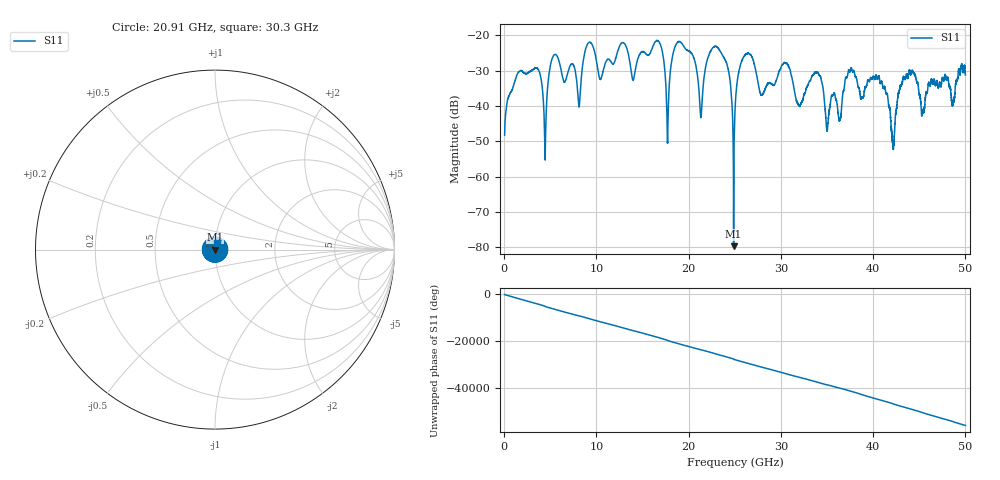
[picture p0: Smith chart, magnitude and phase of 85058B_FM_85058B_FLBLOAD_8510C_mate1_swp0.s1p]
!Created with skrf (http://scikit-rf.org).
# Hz S RI R 50.0
!freq ReS11 ImS11
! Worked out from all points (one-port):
!   10001 points, 45 MHz to 50 GHz, reference 50 ohm
!   lowest |S11| = -79.6 dB at 24.87 GHz (marker M1), VSWR 1.00, Z = 50 - j0.00189 ohm
!   |S11| at or under -10 dB: start of sweep to end of sweep
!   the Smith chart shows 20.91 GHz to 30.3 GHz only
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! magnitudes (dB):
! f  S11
! 45 MHz  -48.2
! 1.644 GHz  -30.2
! 3.687 GHz  -29.6
! 4.421 GHz  -53.7
! 5.255 GHz  -26.2
! 6.289 GHz  -31.4
! 8.108 GHz  -40.1
! 9.117 GHz  -22.2
! 12.53 GHz  -22.8
! 13.98 GHz  -32.7
! 16.74 GHz  -21.6
! 17.72 GHz  -50.5
! 18.78 GHz  -22.0
! 21.32 GHz  -43.1
! 23.35 GHz  -24.2
! 24.87 GHz  -79.6
! 25.02 GHz  -41.1
! 26.26 GHz  -25.2
! 27.9 GHz  -36.9
! 31.27 GHz  -32.8
! 34.08 GHz  -30.9
! 35.04 GHz  -46.4
! 37.51 GHz  -30.1
! 40.77 GHz  -33.5
! 42.14 GHz  -51.0
! 43.76 GHz  -32.0
! 45.39 GHz  -41.4
! 50 GHz  -31.2
